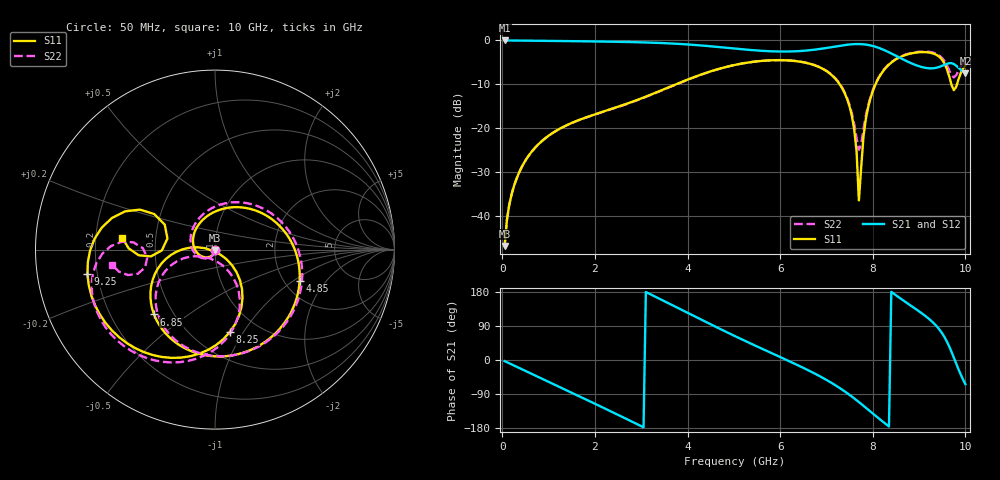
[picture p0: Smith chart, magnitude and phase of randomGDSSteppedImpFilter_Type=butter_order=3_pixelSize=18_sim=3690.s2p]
! freq	dB(S11)	phase(S11)	dB(S12)	phase(S12)
!  dB(S21)	phase(S21)	dB(S22)	phase(S22)
!S-par simulation data
#  GHz  S  DB  R 50
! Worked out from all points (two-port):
!   200 points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, 50 MHz to 10 GHz, reference 50 ohm
!   highest |S21| = 0.00 dB at 50 MHz (marker M1); lowest = -7.4 dB at 10 GHz (marker M2)
!   |S21| within 3 dB of the highest: start of sweep to 8.41 GHz
!   lowest |S11| = -46.8 dB at 50 MHz (marker M3), VSWR 1.01, Z = 50 - j0.459 ohm
!   |S11| at or under -10 dB: start of sweep to 3.744 GHz; 7.287 GHz to 8.058 GHz (771.1 MHz wide, 10 % of centre); 9.698 GHz to 9.817 GHz (119.5 MHz wide, 1.22 % of centre)
!   |S22| runs from -46.8 to -2.5 dB; largest |S21 - S12| = 0
!   S11 on the Smith chart (normalised r, x): 50 MHz: 1.00, -0.01; 4.85 GHz: 2.42, -1.12; 6.85 GHz: 0.39, -0.38; 8.25 GHz: 0.74, -0.87; 9.25 GHz: 0.16, -0.09; 10 GHz: 0.32, +0.06
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0.05  -46.76 -91.3  -0.00 -2.9  -0.00 -2.9  -46.78 -91.0
0.2  -35.01 -100.6  -0.02 -11.6  -0.02 -11.6  -35.02 -98.7
0.5  -27.30 -121.3  -0.05 -28.8  -0.05 -28.8  -27.30 -117.0
1.75  -17.72 160.4  -0.19 -100.9  -0.19 -100.9  -17.75 175.2
2.65  -14.54 106.1  -0.34 -153.7  -0.34 -153.7  -14.60 123.8
3.4  -11.50 62.7  -0.57 161.3  -0.57 161.3  -11.55 77.2
4.15  -8.31 19.8  -1.02 115.4  -1.02 115.4  -8.34 29.2
4.85  -5.98 -20.1  -1.68 73.2  -1.68 73.2  -6.00 -14.3
5.05  -5.50 -31.3  -1.88 61.5  -1.88 61.5  -5.52 -26.2
5.95  -4.48 -80.8  -2.51 10.6  -2.51 10.6  -4.47 -77.0
6.7  -5.49 -123.7  -2.15 -32.8  -2.15 -32.8  -5.46 -118.8
6.85  -6.09 -133.2  -1.95 -42.4  -1.95 -42.4  -6.05 -127.7
7.5  -15.09 179.0  -0.92 -92.1  -0.92 -92.1  -14.69 -164.5
7.65  -25.19 172.1  -0.82 -106.1  -0.82 -106.1  -22.20 -149.3
7.7  -36.37 -151.5  -0.82 -110.9  -0.82 -110.9  -24.88 -120.0
7.85  -17.88 -42.4  -0.94 -125.9  -0.94 -125.9  -17.11 -57.9
8.25  -6.62 -79.8  -2.21 -166.0  -2.21 -166.0  -6.52 -79.3
8.35  -5.49 -89.3  -2.69 -175.5  -2.69 -175.5  -5.40 -87.5
9.25  -2.81 -169.1  -6.35 104.7  -6.35 104.7  -2.65 -156.2
9.55  -5.27 157.0  -5.53 60.2  -5.53 60.2  -4.73 178.1
9.75  -11.30 166.8  -5.36 6.4  -5.36 6.4  -8.40 -173.1
10  -5.67 172.7  -7.44 -63.9  -7.44 -63.9  -4.71 -171.7
